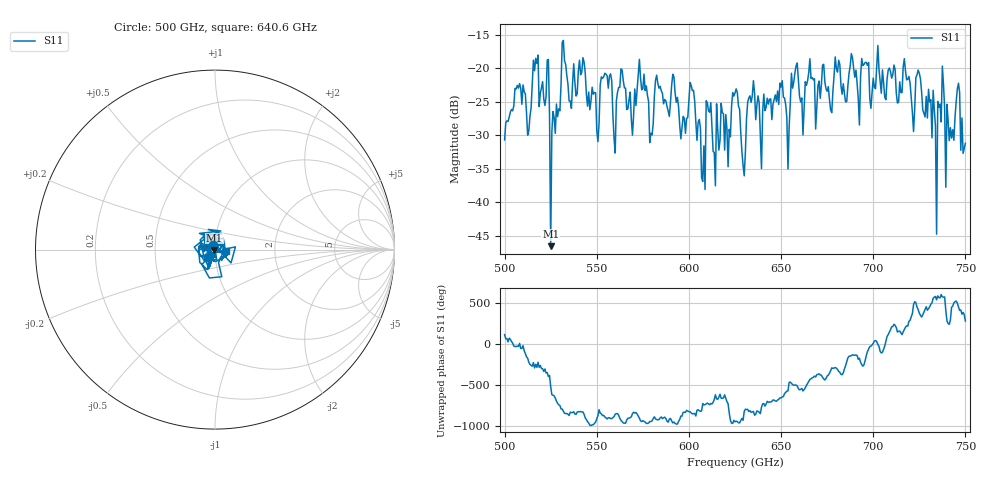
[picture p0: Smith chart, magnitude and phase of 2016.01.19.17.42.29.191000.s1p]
!Created with skrf (http://scikit-rf.org).
# GHz S RI R 50.0
!freq ReS11 ImS11
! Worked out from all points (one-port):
!   401 points, 500 GHz to 750 GHz, reference 50 ohm
!   lowest |S11| = -46.6 dB at 525 GHz (marker M1), VSWR 1.01, Z = 49.6 - j0.135 ohm
!   |S11| at or under -10 dB: start of sweep to end of sweep
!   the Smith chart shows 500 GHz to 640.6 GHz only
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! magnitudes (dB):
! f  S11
! 500 GHz  -30.7
! 506.9 GHz  -22.6
! 513.1 GHz  -29.4
! 516.9 GHz  -18.5
! 525 GHz  -46.6
! 531.2 GHz  -16.1
! 550 GHz  -29.3
! 560 GHz  -32.7
! 562.5 GHz  -22.9
! 570 GHz  -26.9
! 574.4 GHz  -23.2
! 579.4 GHz  -29.7
! 583.1 GHz  -22.3
! 593.8 GHz  -24.4
! 601.9 GHz  -23.3
! 607.5 GHz  -36.9
! 610.6 GHz  -26.4
! 615 GHz  -25.3
! 625 GHz  -23.7
! 629.4 GHz  -34.5
! 633.8 GHz  -25.1
! 653.8 GHz  -35.0
! 656.2 GHz  -23.0
! 687.5 GHz  -19.7
! 718.8 GHz  -21.7
! 733.1 GHz  -26.1
! 745.6 GHz  -23.1
! 750 GHz  -31.2
